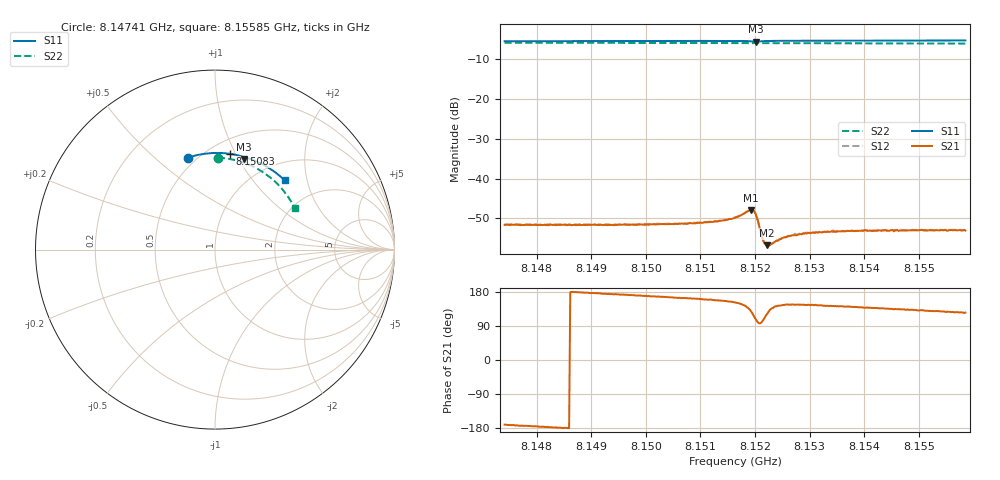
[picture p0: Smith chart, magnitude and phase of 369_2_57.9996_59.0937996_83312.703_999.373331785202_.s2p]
#  HZ  S  RI  R  50.00
! Rohde & Schwarz Vector Network Analyzer
! Rohde-Schwarz,ZNB20-2Port,1311601062101988,3.16
! Created: UTC 3/21/2024, 1:06:51 AM
! freq[Hz]  re:S11  im:S11  re:S21  im:S21  re:S12  im:S12  re:S22  im:S22
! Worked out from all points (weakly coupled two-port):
!   401 points, 8.14741 GHz to 8.15585 GHz, reference 50 ohm
!   highest |S21| = -47.87 dB at 8.15193 GHz (marker M1); lowest = -56.8 dB at 8.15222 GHz (marker M2)
!   lowest |S11| = -5.5 dB at 8.15201 GHz (marker M3), VSWR 3.25, Z = 37.5 + j52.6 ohm
!   |S11| at or under -10 dB: nowhere
!   |S22| runs from -6.0 to -5.8 dB; largest |S21 - S12| = 0.00013
!   S11 on the Smith chart (normalised r, x): 8.14741 GHz: 0.45, +0.65; 8.15083 GHz: 0.63, +0.95; 8.15585 GHz: 1.34, +1.48
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8.147414e9  -0.1506 0.5128  -0.00259 -0.000432  -0.00264 -0.000367  0.0164 0.5126
8.148827e9  -0.0543 0.5342  -0.00262 8.44e-05  -0.00266 0.000133  0.1075 0.4997
8.15024e9  0.044 0.5375  -0.00262 0.000583  -0.00264 0.000645  0.1939 0.471
8.150831e9  0.085 0.5335  -0.00262 0.000834  -0.00262 0.000854  0.228 0.4546
8.151316e9  0.119 0.5276  -0.00267 0.0011  -0.0027 0.00117  0.255 0.439
8.151632e9  0.1415 0.5216  -0.00285 0.00153  -0.00285 0.00156  0.272 0.4281
8.151928e9  0.1613 0.5088  -0.00249 0.00318  -0.00246 0.00326  0.2872 0.417
8.15197e9  0.1616 0.5059  -0.00186 0.0035  -0.00182 0.00357  0.2892 0.4155
8.152012e9  0.1604 0.5048  -0.00108 0.0034  -0.00101 0.0035  0.2913 0.414
8.152054e9  0.1599 0.5061  -0.000438 0.00289  -0.000407 0.00289  0.2933 0.4124
8.152118e9  0.1625 0.509  -0.000315 0.00193  -0.000285 0.00193  0.2966 0.4103
8.152139e9  0.1641 0.5099  -0.000398 0.00169  -0.000394 0.00172  0.2976 0.4096
8.152181e9  0.1675 0.5107  -0.000589 0.00139  -0.000591 0.00141  0.2999 0.4078
8.152223e9  0.1711 0.5109  -0.000767 0.00123  -0.000761 0.0012  0.3019 0.4061
8.152265e9  0.1745 0.5107  -0.000954 0.00109  -0.000995 0.00113  0.3041 0.4046
8.152497e9  0.1921 0.5068  -0.00146 0.00104  -0.00143 0.00105  0.3156 0.3954
8.152624e9  0.201 0.5038  -0.00159 0.00105  -0.00156 0.00109  0.3217 0.39
8.152919e9  0.2207 0.4964  -0.00169 0.00118  -0.00171 0.0012  0.3357 0.3777
8.153046e9  0.2288 0.4928  -0.00174 0.00118  -0.00171 0.00121  0.3413 0.3721
8.153404e9  0.2516 0.4825  -0.00173 0.00132  -0.00171 0.00131  0.3572 0.3562
8.154459e9  0.3147 0.4457  -0.00156 0.00156  -0.00157 0.00158  0.3994 0.305
8.155851e9  0.3889 0.3853  -0.00128 0.00182  -0.0013 0.00187  0.4437 0.2306
